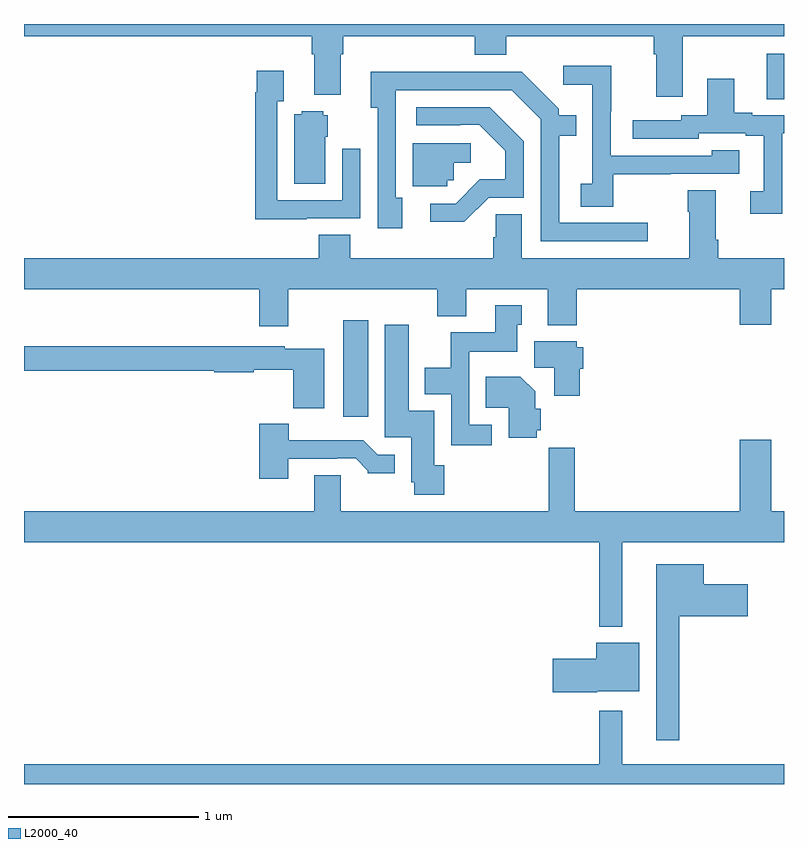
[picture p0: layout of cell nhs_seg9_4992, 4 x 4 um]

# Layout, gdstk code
import gdstk
lib = gdstk.Library(unit=1e-6, precision=1e-09)
def R(c, l, rs):  # rectangles x0, y0, x1, y1
    for r in rs: c.add(gdstk.rectangle(r[:2], r[2:], *l))
def P(c, l, *ps):  # polygons
    for p in ps: c.add(gdstk.Polygon(p, *l))
L2000_40 = (2000, 40)

nhs_seg9_4992 = lib.new_cell('nhs_seg9_4992')
R(nhs_seg9_4992, L2000_40, [(402.68,1178.433,402.811,1178.941), (404.909,1180.105,405,1180.344)])
P(nhs_seg9_4992, L2000_40, [(404.467,1180.436),(405,1180.436),(405,1180.5),(401,1180.5),(401,1180.436),(402.515,1180.436),(402.515,1180.34),(402.527,1180.34),(402.527,1180.127),(402.667,1180.127),(402.667,1180.34),(402.68,1180.34),(402.68,1180.436),(403.373,1180.436),(403.373,1180.337),(403.538,1180.337),(403.538,1180.436),(404.315,1180.436),(404.315,1180.34),(404.327,1180.34),(404.327,1180.116),(404.467,1180.116)],
  [(404.101,1179.709),(404.405,1179.709),(404.405,1179.711),(404.764,1179.711),(404.764,1179.835),(404.619,1179.835),(404.619,1179.807),(404.088,1179.807),(404.088,1180.04),(404.091,1180.04),(404.091,1180.279),(403.839,1180.279),(403.839,1180.181),(403.992,1180.181),(403.992,1179.66),(403.929,1179.66),(403.929,1179.538),(404.101,1179.538)],
  [(402.487,1179.477),(402.771,1179.477),(402.771,1179.844),(402.675,1179.844),(402.675,1179.573),(402.333,1179.573),(402.333,1180.094),(402.367,1180.094),(402.367,1180.255),(402.225,1180.255),(402.225,1180.142),(402.217,1180.142),(402.217,1179.473),(402.487,1179.473)],
  [(404.284,1179.453),(403.816,1179.453),(403.816,1179.912),(403.907,1179.912),(403.907,1180.021),(403.815,1180.021),(403.815,1180.053),(403.62,1180.248),(403.289,1180.248),(403.289,1180.25),(402.824,1180.25),(402.824,1180.058),(402.861,1180.058),(402.861,1179.426),(402.991,1179.426),(402.991,1179.586),(402.957,1179.586),(402.957,1180.152),(403.566,1180.152),(403.719,1179.999),(403.719,1179.357),(404.284,1179.357)],
  [(404.991,1179.924),(405,1179.924),(405,1180.02),(404.833,1180.02),(404.833,1180.033),(404.737,1180.033),(404.737,1180.213),(404.597,1180.213),(404.597,1180.02),(404.46,1180.02),(404.46,1179.993),(404.205,1179.993),(404.205,1179.897),(404.55,1179.897),(404.55,1179.924),(404.798,1179.924),(404.798,1179.912),(404.894,1179.912),(404.894,1179.621),(404.823,1179.621),(404.823,1179.501),(404.991,1179.501)],
  [(403.446,1179.585),(403.629,1179.585),(403.629,1179.883),(403.45,1180.062),(403.065,1180.062),(403.065,1179.966),(403.295,1179.966),(403.295,1179.969),(403.395,1179.969),(403.532,1179.832),(403.532,1179.682),(403.399,1179.682),(403.272,1179.555),(403.137,1179.555),(403.137,1179.458),(403.318,1179.458)],
  [(402.586,1179.906),(402.598,1179.906),(402.598,1180.02),(402.576,1180.02),(402.576,1180.042),(402.462,1180.042),(402.462,1180.024),(402.422,1180.024),(402.422,1179.658),(402.586,1179.658)],
  [(403.227,1179.678),(403.263,1179.678),(403.263,1179.77),(403.351,1179.77),(403.351,1179.873),(403.046,1179.873),(403.046,1179.645),(403.227,1179.645)],
  [(402.391,1179.104),(403.175,1179.104),(403.175,1178.963),(403.327,1178.963),(403.327,1179.104),(403.757,1179.104),(403.757,1178.915),(403.91,1178.915),(403.91,1179.104),(404.768,1179.104),(404.768,1178.916),(404.932,1178.916),(404.932,1179.104),(405,1179.104),(405,1179.268),(404.654,1179.268),(404.654,1179.364),(404.641,1179.364),(404.641,1179.625),(404.494,1179.625),(404.494,1179.512),(404.501,1179.512),(404.501,1179.268),(403.621,1179.268),(403.621,1179.5),(403.483,1179.5),(403.483,1179.378),(403.469,1179.378),(403.469,1179.268),(402.716,1179.268),(402.716,1179.392),(402.551,1179.392),(402.551,1179.268),(401,1179.268),(401,1179.104),(402.239,1179.104),(402.239,1178.91),(402.391,1178.91)],
  [(403.462,1178.391),(403.344,1178.391),(403.344,1178.774),(403.597,1178.774),(403.597,1178.916),(403.621,1178.916),(403.621,1179.019),(403.481,1179.019),(403.481,1178.878),(403.246,1178.878),(403.246,1178.692),(403.109,1178.692),(403.109,1178.552),(403.248,1178.552),(403.248,1178.283),(403.462,1178.283)],
  [(403.211,1178.178),(403.159,1178.178),(403.159,1178.464),(403.024,1178.464),(403.024,1178.917),(402.899,1178.917),(402.899,1178.325),(403.037,1178.325),(403.037,1178.088),(403.054,1178.088),(403.054,1178.022),(403.211,1178.022)],
  [(403.925,1178.685),(403.943,1178.685),(403.943,1178.799),(403.908,1178.799),(403.908,1178.83),(403.685,1178.83),(403.685,1178.692),(403.79,1178.692),(403.79,1178.544),(403.925,1178.544)],
  [(402.58,1178.791),(402.372,1178.791),(402.372,1178.803),(401,1178.803),(401,1178.674),(402,1178.674),(402,1178.666),(402.21,1178.666),(402.21,1178.681),(402.418,1178.681),(402.418,1178.477),(402.58,1178.477)],
  [(403.699,1178.361),(403.721,1178.361),(403.721,1178.475),(403.69,1178.475),(403.69,1178.566),(403.612,1178.644),(403.429,1178.644),(403.429,1178.48),(403.55,1178.48),(403.55,1178.323),(403.699,1178.323)],
  [(402.391,1178.211),(402.647,1178.211),(402.647,1178.214),(402.746,1178.214),(402.81,1178.15),(402.81,1178.135),(402.952,1178.135),(402.952,1178.232),(402.861,1178.232),(402.785,1178.308),(402.394,1178.308),(402.394,1178.395),(402.239,1178.395),(402.239,1178.106),(402.391,1178.106)],
  [(404.149,1177.772),(405,1177.772),(405,1177.936),(404.932,1177.936),(404.932,1178.311),(404.768,1178.311),(404.768,1177.936),(403.898,1177.936),(403.898,1178.269),(403.762,1178.269),(403.762,1177.936),(402.667,1177.936),(402.667,1178.126),(402.527,1178.126),(402.527,1177.936),(401,1177.936),(401,1177.772),(404.028,1177.772),(404.028,1177.328),(404.149,1177.328)],
  [(404.449,1177.382),(404.809,1177.382),(404.809,1177.552),(404.578,1177.552),(404.578,1177.657),(404.327,1177.657),(404.327,1176.729),(404.449,1176.729)],
  [(404.016,1176.989),(404.239,1176.989),(404.239,1177.243),(404.012,1177.243),(404.012,1177.16),(403.782,1177.16),(403.782,1176.982),(404.016,1176.982)],
  [(405,1176.604),(404.149,1176.604),(404.149,1176.886),(404.028,1176.886),(404.028,1176.604),(401,1176.604),(401,1176.5),(405,1176.5)])

lib.write_gds('nhs_seg9_4992.gds')
